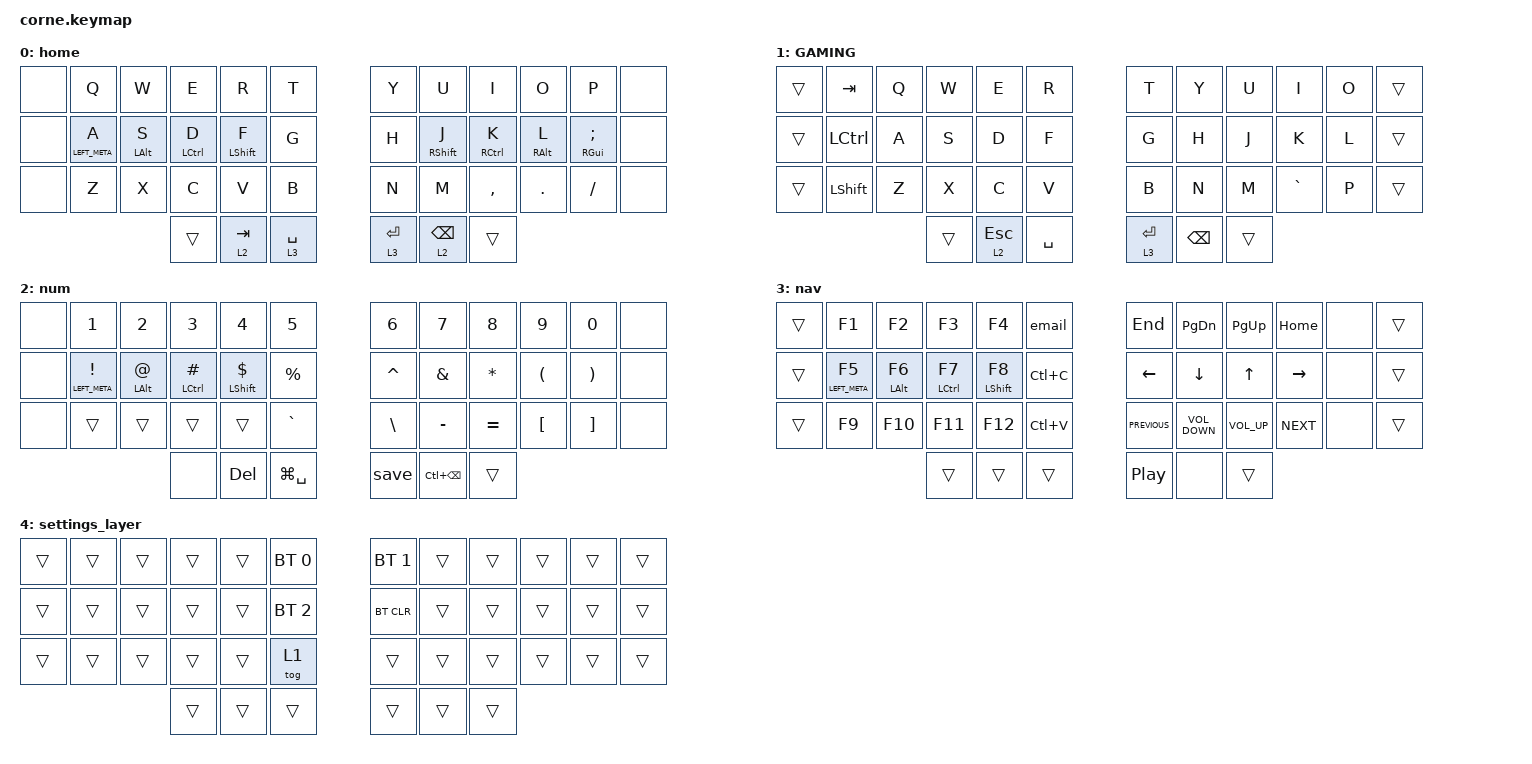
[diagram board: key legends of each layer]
/*
 * Copyright (c) 2020 The ZMK Contributors
 *
 * SPDX-License-Identifier: MIT
 */

#include <behaviors.dtsi>
#include <dt-bindings/zmk/bt.h>
#include <dt-bindings/zmk/keys.h>

/ {
    behaviors {
        hm: homerow_mods {
            compatible = "zmk,behavior-hold-tap";
            label = "HOMEROW_MODS";
            bindings = <&kp>, <&kp>;

            #binding-cells = <2>;
            tapping-term-ms = <200>;
            flavor = "tap-preferred";
            require-prior-idle-ms = <125>;
            quick-tap-ms = <200>;
        };

        shifthr: shifthr {
            compatible = "zmk,behavior-hold-tap";
            label = "SHIFTHR";
            bindings = <&kp>, <&kp>;

            #binding-cells = <2>;
            tapping-term-ms = <185>;
            flavor = "tap-preferred";
            quick-tap-ms = <185>;
        };

        weak: weak {
            compatible = "zmk,behavior-hold-tap";
            label = "WEAK";
            bindings = <&kp>, <&kp>;

            #binding-cells = <2>;
            tapping-term-ms = <230>;
            flavor = "tap-preferred";
            require-prior-idle-ms = <125>;
            quick-tap-ms = <230>;
        };

        backspace: backspace {
            compatible = "zmk,behavior-tap-dance";
            label = "BACKSPACE";
            #binding-cells = <0>;
            bindings = <&kp BACKSPACE>, <&kp LC(BACKSPACE)>;
        };
    };

    combos {
        compatible = "zmk,combos";

        caps {
            bindings = <&kp CAPS>;
            key-positions = <16 19>;
        };

        settings_layer {
            bindings = <&sl 4>;
            key-positions = <38 39>;
        };

        escape {
            bindings = <&kp ESCAPE>;
            key-positions = <2 3>;
        };

        quote {
            bindings = <&kp SINGLE_QUOTE>;
            key-positions = <21 20>;
        };
    };

    macros {
        save: save {
            compatible = "zmk,behavior-macro";
            #binding-cells = <0>;
            bindings = <&macro_tap>, <&kp ESCAPE &kp COLON &kp W &kp ENTER>;

            label = "SAVE";
        };

        email: email {
            compatible = "zmk,behavior-macro";
            #binding-cells = <0>;
            bindings = <&kp A &kp L &kp W &kp I &kp M &kp H &kp D &kp N0 &kp N1 &kp AT &kp G &kp M &kp A &kp I &kp L &kp DOT &kp C &kp O &kp M>;
            label = "EMAIL";
        };
    };

    keymap {
        compatible = "zmk,keymap";

        home {
            // -----------------------------------------------------------------------------------------
            // |  TAB |  Q  |  W  |  E  |  R  |  T  |   |  Y  |  U   |  I  |  O  |  P  | BKSP |
            // | CTRL |  A  |  S  |  D  |  F  |  G  |   |  H  |  J   |  K  |  L  |  ;  |  '   |
            // | SHFT |  Z  |  X  |  C  |  V  |  B  |   |  N  |  M   |  ,  |  .  |  /  | ESC  |
            //                    | GUI | LWR | SPC |   | ENT | RSE  | ALT |

            bindings = <
&none  &kp Q              &kp W             &kp E                    &kp R                  &kp T          &kp Y        &kp U              &kp I             &kp O              &kp P                 &none
&none  &weak LEFT_META A  &weak LEFT_ALT S  &shifthr LEFT_CONTROL D  &shifthr LEFT_SHIFT F  &kp G          &kp H        &shifthr RSHIFT J  &shifthr RCTRL K  &weak RIGHT_ALT L  &weak RIGHT_GUI SEMI  &none
&none  &kp Z              &kp X             &kp C                    &kp V                  &kp B          &kp N        &kp M              &kp COMMA         &kp DOT            &kp SLASH             &none
                                            &trans                   &lt 2 TAB              &lt 3 SPACE    &lt 3 ENTER  &lt 2 BACKSPACE    &trans
            >;

            label = "home";
        };

        GAMING {
            bindings = <
&trans  &kp TAB     &kp Q  &kp W   &kp E         &kp R        &kp T         &kp Y          &kp U   &kp I      &kp O  &trans
&trans  &kp LCTRL   &kp A  &kp S   &kp D         &kp F        &kp G         &kp H          &kp J   &kp K      &kp L  &trans
&trans  &kp LSHIFT  &kp Z  &kp X   &kp C         &kp V        &kp B         &kp N          &kp M   &kp GRAVE  &kp P  &trans
                           &trans  &lt 2 ESCAPE  &kp SPACE    &lt 3 RETURN  &kp BACKSPACE  &trans
            >;
        };

        num {
            // -----------------------------------------------------------------------------------------
            // |  TAB |  !  |  @  |  #  |  $  |  %  |   |  ^  |  &  |  *  |  (  |  )  | BKSP |
            // | CTRL |     |     |     |     |     |   |  -  |  =  |  [  |  ]  |  \  |  `   |
            // | SHFT |     |     |     |     |     |   |  _  |  +  |  {  |  }  | "|" |  ~   |
            //                    | GUI |     | SPC |   | ENT |     | ALT |

            bindings = <
&none  &kp NUMBER_1               &kp N2                &kp N3          &kp N4                 &kp N5           &kp N6         &kp N7             &kp N8        &kp N9                &kp N0                 &none
&none  &hm LEFT_META EXCLAMATION  &hm LEFT_ALT AT_SIGN  &hm LCTRL HASH  &hm LEFT_SHIFT DOLLAR  &kp PERCENT      &kp CARET      &kp AMPERSAND      &kp ASTERISK  &kp LEFT_PARENTHESIS  &kp RIGHT_PARENTHESIS  &none
&none  &trans                     &trans                &trans          &trans                 &kp GRAVE        &kp BACKSLASH  &kp MINUS          &kp EQUAL     &kp LEFT_BRACKET      &kp RIGHT_BRACKET      &none
                                                        &none           &kp DELETE             &kp LG(SPACE)    &save          &kp LC(BACKSPACE)  &trans
            >;

            label = "num";
        };

        nav {
            bindings = <
&trans  &kp F1              &kp F2             &kp F3             &kp F4                  &email       &kp END           &kp PAGE_DOWN      &kp PG_UP        &kp HOME    &none  &trans
&trans  &weak LEFT_META F5  &weak LEFT_ALT F6  &shifthr LCTRL F7  &shifthr LEFT_SHIFT F8  &kp LC(C)    &kp LEFT_ARROW    &kp DOWN           &kp UP_ARROW     &kp RIGHT   &none  &trans
&trans  &kp F9              &kp F10            &kp F11            &kp F12                 &kp LC(V)    &kp C_PREVIOUS    &kp C_VOLUME_DOWN  &kp C_VOLUME_UP  &kp C_NEXT  &none  &trans
                                               &trans             &trans                  &trans       &kp C_PLAY_PAUSE  &none              &trans
            >;

            label = "nav";
        };

        settings {
            bindings = <
&trans  &trans  &trans  &trans  &trans  &bt BT_SEL 0    &bt BT_SEL 1  &trans  &trans  &trans  &trans  &trans
&trans  &trans  &trans  &trans  &trans  &bt BT_SEL 2    &bt BT_CLR    &trans  &trans  &trans  &trans  &trans
&trans  &trans  &trans  &trans  &trans  &tog 1          &trans        &trans  &trans  &trans  &trans  &trans
                        &trans  &trans  &trans          &trans        &trans  &trans
            >;

            label = "settings_layer";
        };
    };
};
